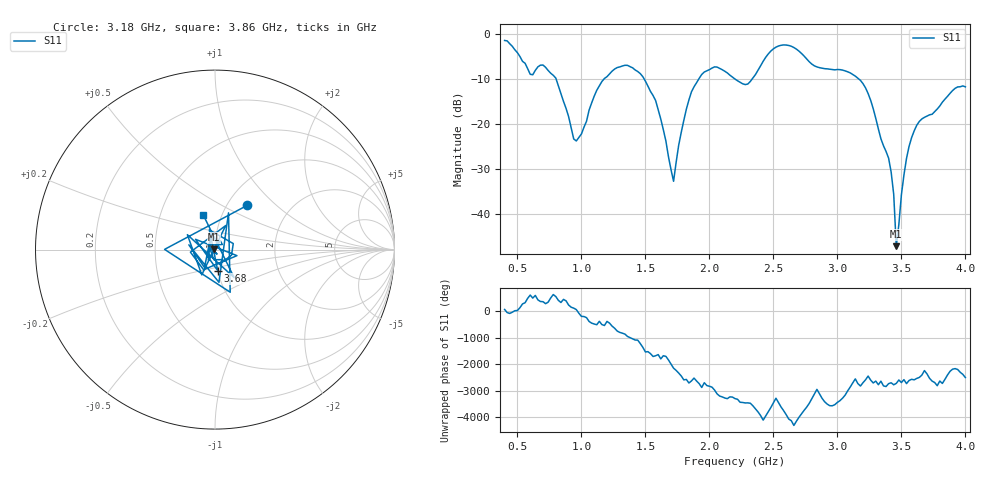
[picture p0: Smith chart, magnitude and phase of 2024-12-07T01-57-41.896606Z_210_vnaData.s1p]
!Created with skrf (http://scikit-rf.org).
# Hz S RI R 50.0
!freq ReS11 ImS11
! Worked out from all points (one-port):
!   181 points, 400 MHz to 4 GHz, reference 50 ohm
!   lowest |S11| = -47.0 dB at 3.46 GHz (marker M1), VSWR 1.01, Z = 49.6 + j0.201 ohm
!   |S11| at or under -10 dB: 802.4 MHz to 1.177 GHz (374.1 MHz wide, 37.8 % of centre); 1.49 GHz to 1.917 GHz (426.6 MHz wide, 25 % of centre); 3.167 GHz to end of sweep (the widest 3 of 4)
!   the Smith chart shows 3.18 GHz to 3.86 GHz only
!   S11 on the Smith chart (normalised r, x): 3.18 GHz: 1.24, +0.67; 3.68 GHz: 1.00, -0.24; 3.86 GHz: 0.82, +0.33
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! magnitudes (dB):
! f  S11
! 400 MHz  -1.5
! 600 MHz  -9.0
! 720 MHz  -7.4
! 860 MHz  -15.0
! 960 MHz  -23.7
! 1.14 GHz  -11.5
! 1.3 GHz  -7.3
! 1.46 GHz  -8.8
! 1.58 GHz  -14.8
! 1.72 GHz  -32.7
! 1.76 GHz  -24.7
! 1.86 GHz  -12.8
! 1.94 GHz  -9.0
! 2.06 GHz  -7.4
! 2.2 GHz  -10.0
! 2.3 GHz  -11.1
! 2.5 GHz  -3.3
! 2.66 GHz  -3.0
! 3.1 GHz  -8.6
! 3.18 GHz  -10.3
! 3.4 GHz  -27.5
! 3.44 GHz  -35.6
! 3.46 GHz  -47.0
! 3.52 GHz  -31.2
! 3.56 GHz  -24.9
! 3.68 GHz  -18.5
! 3.86 GHz  -13.8
! 4 GHz  -11.7
